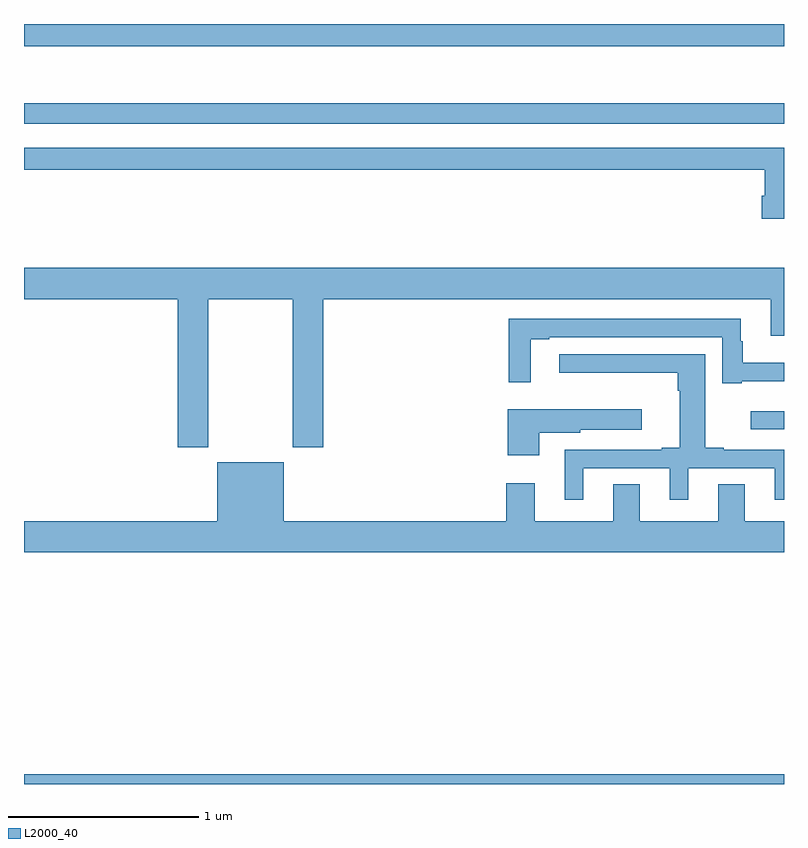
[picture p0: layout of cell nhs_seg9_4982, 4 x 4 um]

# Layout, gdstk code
import gdstk
lib = gdstk.Library(unit=1e-6, precision=1e-09)
def R(c, l, rs):  # rectangles x0, y0, x1, y1
    for r in rs: c.add(gdstk.rectangle(r[:2], r[2:], *l))
def P(c, l, *ps):  # polygons
    for p in ps: c.add(gdstk.Polygon(p, *l))
L2000_40 = (2000, 40)

nhs_seg9_4982 = lib.new_cell('nhs_seg9_4982')
R(nhs_seg9_4982, L2000_40, [(399,1228.5,403,1228.552), (402.825,1230.366,403,1230.463), (399,1231.974,403,1232.083), (399,1232.384,403,1232.5)])
P(nhs_seg9_4982, L2000_40, [(403,1231.848),(399,1231.848),(399,1231.732),(402.899,1231.732),(402.899,1231.597),(402.884,1231.597),(402.884,1231.475),(403,1231.475)],
  [(399,1231.052),(399.809,1231.052),(399.809,1230.273),(399.969,1230.273),(399.969,1231.052),(400.414,1231.052),(400.414,1230.273),(400.574,1230.273),(400.574,1231.052),(402.929,1231.052),(402.929,1230.858),(403,1230.858),(403,1231.216),(399,1231.216)],
  [(402.778,1230.62),(403,1230.62),(403,1230.718),(402.784,1230.718),(402.784,1230.83),(402.772,1230.83),(402.772,1230.948),(401.551,1230.948),(401.551,1230.615),(401.668,1230.615),(401.668,1230.84),(401.764,1230.84),(401.764,1230.852),(402.675,1230.852),(402.675,1230.609),(402.778,1230.609)],
  [(401.944,1230.162),(402.398,1230.162),(402.398,1229.997),(402.496,1229.997),(402.496,1230.162),(402.95,1230.162),(402.95,1229.997),(403,1229.997),(403,1230.258),(402.682,1230.258),(402.682,1230.271),(402.586,1230.271),(402.586,1230.762),(401.817,1230.762),(401.817,1230.665),(402.44,1230.665),(402.44,1230.569),(402.452,1230.569),(402.452,1230.271),(402.356,1230.271),(402.356,1230.258),(401.846,1230.258),(401.846,1229.997),(401.944,1229.997)],
  [(401.713,1230.35),(401.928,1230.35),(401.928,1230.365),(402.25,1230.365),(402.25,1230.472),(401.546,1230.472),(401.546,1230.231),(401.713,1230.231)],
  [(403,1229.884),(402.793,1229.884),(402.793,1230.077),(402.653,1230.077),(402.653,1229.884),(402.241,1229.884),(402.241,1230.077),(402.101,1230.077),(402.101,1229.884),(401.689,1229.884),(401.689,1230.082),(401.537,1230.082),(401.537,1229.884),(400.366,1229.884),(400.366,1230.193),(400.016,1230.193),(400.016,1229.884),(399,1229.884),(399,1229.72),(403,1229.72)])

lib.write_gds('nhs_seg9_4982.gds')
